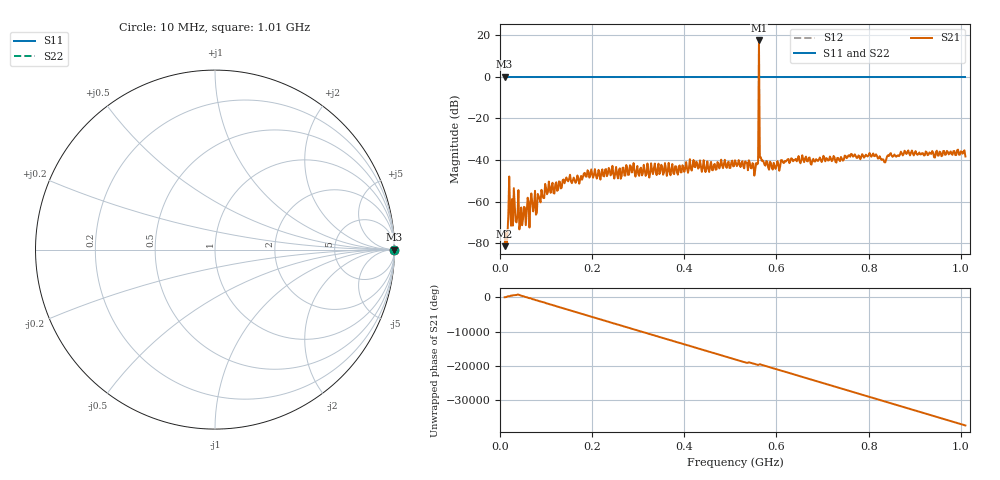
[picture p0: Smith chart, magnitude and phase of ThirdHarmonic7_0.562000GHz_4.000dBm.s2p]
! 8/17/2025 5:13:46 PM
! C:\ANRITSUVNA\TEMP\TEMP.S2P
! CHANNEL.1
! TR.MEASUREMENT
! RAW.DATA
! RF.CORRECTION.OFF
! AVERAGING.OFF
! IF.BANDWIDTH: 5KHZ
! SWEEPTYPE:  FREQ.SWEEP(Linear)
! Reference Plane Port Info
! PORT:  PORT1  PORT2
! DISTANCE:  0  m  0  m
! TIME:  0  s  0  s
! PHASE.OFFSET:  0  deg.  0  deg.
! LOSS:  0  dB  0  dB
! REF.LOSS:  0  dB  0  dB
! REF.FREQ:  0  Hz  0  Hz
! Power Info
! POWER:  -20  dBm  -20  dBm
! EFF.POWER:  -20  dBm  -20  dBm
! SOURCE.ATTEN:  0  dB  0  dB
! TEST.ATTEN:  0  dB  0  dB
# GHZ S RI R 50.0
! FREQ.GHZ  S11RE  S11IM  S21RE  S21IM  S12RE  S12IM  S22RE  S22IM
!; PortSelection: Port_12
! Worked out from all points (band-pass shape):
!   501 points, 10 MHz to 1.01 GHz, reference 50 ohm
!   highest |S21| = 17.37 dB at 562 MHz (marker M1); lowest = -81.3 dB at 10 MHz (marker M2)
!   |S21| within 3 dB of the highest: 561.8982 MHz to 562.1068 MHz (208.5 kHz wide, 0.0371 % of centre)
!   lowest |S11| = 0.0 dB at 10 MHz (marker M3)
!   |S11| at or under -10 dB: nowhere
!   |S22| runs from 0.0 to 0.0 dB; largest |S21 - S12| = 7.5
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0.01  1 0  6.93e-05 5.13e-05  1 0  1 0
0.022  1 0  0.000543 0.000337  1 0  1 0
0.042  1 0  0.000191 -0.000105  1 0  1 0
0.046  1 0  -0.000448 0.000577  1 0  1 0
0.064  1 0  -0.000162 0.000178  1 0  1 0
0.072  1 0  -0.000558 0.000188  1 0  1 0
0.076  1 0  0.00182 -0.000131  1 0  1 0
0.102  1 0  0.00135 0.000692  1 0  1 0
0.178  1 0  -0.00329 -0.00079  1 0  1 0
0.286  1 0  -0.00487 0.00128  1 0  1 0
0.344  1 0  0.00809 -0.00137  1 0  1 0
0.51  1 0  -0.00945 -0.00296  1 0  1 0
0.556  1 0  -0.00792 0.00315  1 0  1 0
0.558  1 0  0.00345 0.0071  1 0  1 0
0.562  1 0  -0.6464 7.358  1 0  1 0
0.566  1 0  -0.00338 0.0112  1 0  1 0
0.568  1 0  0.00904 0.00325  1 0  1 0
0.594  1 0  0.00238 0.00826  1 0  1 0
0.678  1 0  0.00456 -0.00888  1 0  1 0
0.834  1 0  -0.00735 0.00497  1 0  1 0
0.844  1 0  -0.00557 0.0112  1 0  1 0
1.01  1 0  -0.000845 -0.0121  1 0  1 0
